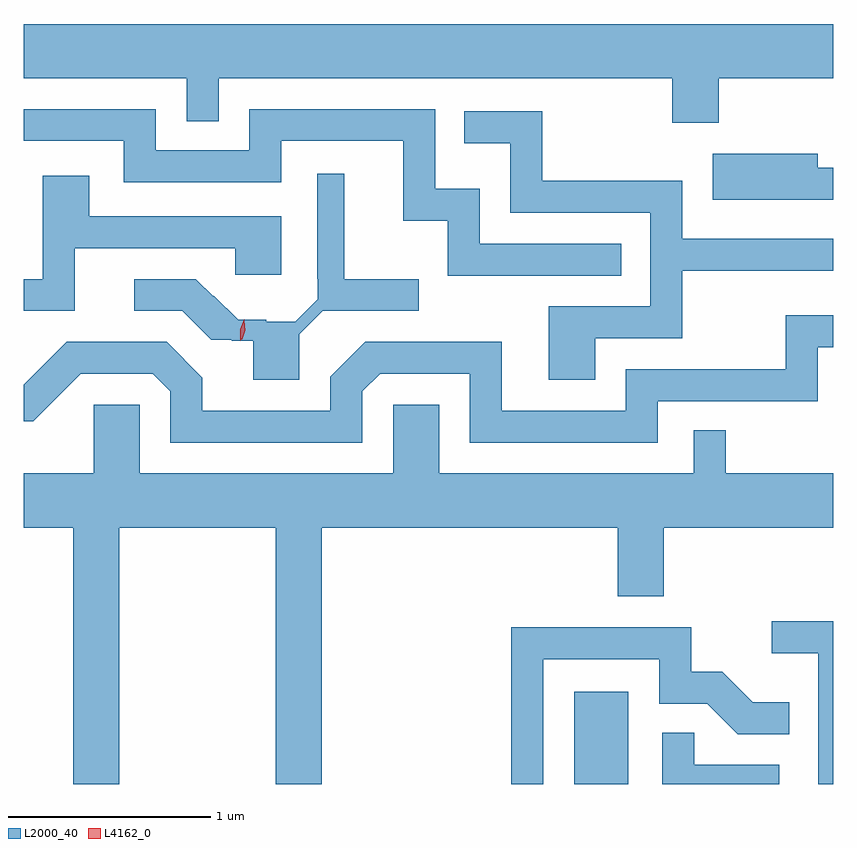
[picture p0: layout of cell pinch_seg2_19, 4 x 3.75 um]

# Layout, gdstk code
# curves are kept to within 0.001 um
import gdstk
lib = gdstk.Library(unit=1e-6, precision=1e-09)
def R(c, l, rs):  # rectangles x0, y0, x1, y1
    for r in rs: c.add(gdstk.rectangle(r[:2], r[2:], *l))
def P(c, l, *ps):  # polygons
    for p in ps: c.add(gdstk.Polygon(p, *l))
L2000_40 = (2000, 40)
L4162_0 = (4162, 0)

pinch_seg2_19 = lib.new_cell('pinch_seg2_19')
R(pinch_seg2_19, L2000_40, [(1669.326,1024.849,1669.594,1025.304)])
P(pinch_seg2_19, L2000_40, [(1670.039,1028.336),(1670.606,1028.336),(1670.606,1028.604),(1666.606,1028.604),(1666.606,1028.336),(1667.411,1028.336),(1667.411,1028.123),(1667.569,1028.123),(1667.569,1028.336),(1669.811,1028.336),(1669.811,1028.116),(1670.039,1028.116)],
  [(1669.558,1027.519),(1668.859,1027.519),(1668.859,1027.789),(1668.639,1027.789),(1668.639,1028.184),(1667.721,1028.184),(1667.721,1027.979),(1667.259,1027.979),(1667.259,1028.184),(1666.606,1028.184),(1666.606,1028.026),(1667.101,1028.026),(1667.101,1027.821),(1667.879,1027.821),(1667.879,1028.026),(1668.481,1028.026),(1668.481,1027.631),(1668.701,1027.631),(1668.701,1027.361),(1669.558,1027.361)],
  [(1669.429,1027.051),(1669.859,1027.051),(1669.859,1027.386),(1670.606,1027.386),(1670.606,1027.544),(1669.859,1027.544),(1669.859,1027.829),(1669.169,1027.829),(1669.169,1028.174),(1668.783,1028.174),(1668.783,1028.016),(1669.011,1028.016),(1669.011,1027.671),(1669.701,1027.671),(1669.701,1027.209),(1669.201,1027.209),(1669.201,1026.846),(1669.429,1026.846)],
  [(1670.606,1027.894),(1670.529,1027.894),(1670.529,1027.964),(1670.011,1027.964),(1670.011,1027.736),(1670.606,1027.736)],
  [(1667.968,1027.071),(1668.084,1027.187),(1668.558,1027.186),(1668.558,1027.344),(1668.189,1027.344),(1668.189,1027.863),(1668.057,1027.863),(1668.058,1027.243),(1667.947,1027.132),(1667.805,1027.132),(1667.805,1027.142),(1667.665,1027.142),(1667.546,1027.261),(1667.543,1027.258),(1667.457,1027.344),(1667.153,1027.344),(1667.153,1027.186),(1667.389,1027.186),(1667.532,1027.043),(1667.633,1027.043),(1667.633,1027.04),(1667.741,1027.04),(1667.741,1026.846),(1667.968,1026.846)],
  [(1666.859,1027.496),(1667.651,1027.496),(1667.651,1027.366),(1667.879,1027.366),(1667.879,1027.654),(1666.929,1027.654),(1666.929,1027.854),(1666.701,1027.854),(1666.701,1027.344),(1666.606,1027.344),(1666.606,1027.186),(1666.859,1027.186)],
  [(1668.279,1026.789),(1668.367,1026.876),(1668.811,1026.876),(1668.811,1026.536),(1669.739,1026.536),(1669.739,1026.741),(1670.529,1026.741),(1670.529,1027.006),(1670.606,1027.006),(1670.606,1027.164),(1670.371,1027.164),(1670.371,1026.899),(1669.581,1026.899),(1669.581,1026.694),(1668.969,1026.694),(1668.969,1027.034),(1668.294,1027.034),(1668.121,1026.862),(1668.121,1026.694),(1667.489,1026.694),(1667.489,1026.857),(1667.312,1027.034),(1666.819,1027.034),(1666.606,1026.821),(1666.606,1026.641),(1666.652,1026.641),(1666.887,1026.876),(1667.244,1026.876),(1667.331,1026.789),(1667.331,1026.536),(1668.279,1026.536)],
  [(1667.079,1026.116),(1667.851,1026.116),(1667.851,1024.849),(1668.079,1024.849),(1668.079,1026.116),(1669.541,1026.116),(1669.541,1025.776),(1669.769,1025.776),(1669.769,1026.116),(1670.606,1026.116),(1670.606,1026.384),(1670.074,1026.384),(1670.074,1026.598),(1669.916,1026.598),(1669.916,1026.384),(1668.659,1026.384),(1668.659,1026.724),(1668.431,1026.724),(1668.431,1026.384),(1667.179,1026.384),(1667.179,1026.724),(1666.951,1026.724),(1666.951,1026.384),(1666.606,1026.384),(1666.606,1026.116),(1666.851,1026.116),(1666.851,1024.849),(1667.079,1024.849)],
  [(1670.606,1025.654),(1670.303,1025.654),(1670.303,1025.496),(1670.531,1025.496),(1670.531,1024.849),(1670.606,1024.849)],
  [(1669.174,1025.466),(1669.746,1025.466),(1669.746,1025.246),(1669.984,1025.246),(1670.134,1025.096),(1670.388,1025.096),(1670.388,1025.254),(1670.207,1025.254),(1670.057,1025.404),(1669.904,1025.404),(1669.904,1025.624),(1669.016,1025.624),(1669.016,1024.849),(1669.174,1024.849)],
  [(1670.339,1024.944),(1669.919,1024.944),(1669.919,1025.103),(1669.761,1025.103),(1669.761,1024.849),(1670.339,1024.849)])
P(pinch_seg2_19, L4162_0, [(1667.677,1027.042),(1667.677,1027.042),(1667.676,1027.095),(1667.695,1027.144),(1667.695,1027.144),(1667.696,1027.144),(1667.696,1027.091),(1667.678,1027.042)],
  [(1667.684,1027.046),(1667.68,1027.094),(1667.695,1027.139),(1667.696,1027.139),(1667.696,1027.139),(1667.7,1027.091),(1667.685,1027.046),(1667.685,1027.046)])

lib.write_gds('pinch_seg2_19.gds')
